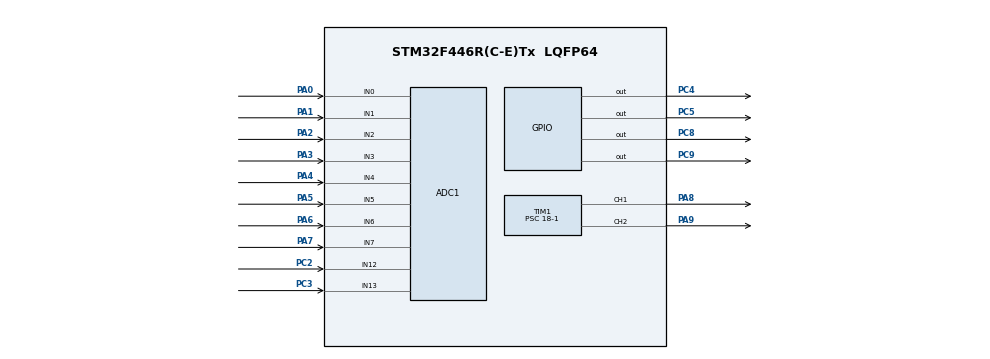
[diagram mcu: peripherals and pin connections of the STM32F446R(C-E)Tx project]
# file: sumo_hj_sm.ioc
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ADC1.Channel-0\#ChannelRegularConversion=ADC_CHANNEL_0
ADC1.Channel-1\#ChannelRegularConversion=ADC_CHANNEL_1
ADC1.Channel-2\#ChannelRegularConversion=ADC_CHANNEL_2
ADC1.Channel-3\#ChannelRegularConversion=ADC_CHANNEL_3
ADC1.Channel-4\#ChannelRegularConversion=ADC_CHANNEL_4
ADC1.Channel-5\#ChannelRegularConversion=ADC_CHANNEL_5
ADC1.Channel-6\#ChannelRegularConversion=ADC_CHANNEL_6
ADC1.Channel-7\#ChannelRegularConversion=ADC_CHANNEL_7
ADC1.Channel-8\#ChannelRegularConversion=ADC_CHANNEL_12
ADC1.Channel-9\#ChannelRegularConversion=ADC_CHANNEL_13
ADC1.ContinuousConvMode=ENABLE
ADC1.DMAContinuousRequests=ENABLE
ADC1.DiscontinuousConvMode=DISABLE
ADC1.EOCSelection=ADC_EOC_SEQ_CONV
ADC1.ExternalTrigConv=ADC_EXTERNALTRIGCONV_T8_TRGO
ADC1.NbrOfConversion=10
ADC1.NbrOfConversionFlag=1
ADC1.Rank-0\#ChannelRegularConversion=1
ADC1.Rank-1\#ChannelRegularConversion=2
ADC1.Rank-2\#ChannelRegularConversion=3
ADC1.Rank-3\#ChannelRegularConversion=4
ADC1.Rank-4\#ChannelRegularConversion=5
ADC1.Rank-5\#ChannelRegularConversion=6
ADC1.Rank-6\#ChannelRegularConversion=7
ADC1.Rank-7\#ChannelRegularConversion=8
ADC1.Rank-8\#ChannelRegularConversion=9
ADC1.Rank-9\#ChannelRegularConversion=10
ADC1.SamplingTime-0\#ChannelRegularConversion=ADC_SAMPLETIME_15CYCLES
ADC1.SamplingTime-1\#ChannelRegularConversion=ADC_SAMPLETIME_15CYCLES
ADC1.SamplingTime-2\#ChannelRegularConversion=ADC_SAMPLETIME_15CYCLES
ADC1.SamplingTime-3\#ChannelRegularConversion=ADC_SAMPLETIME_15CYCLES
ADC1.SamplingTime-4\#ChannelRegularConversion=ADC_SAMPLETIME_15CYCLES
ADC1.SamplingTime-5\#ChannelRegularConversion=ADC_SAMPLETIME_15CYCLES
ADC1.SamplingTime-6\#ChannelRegularConversion=ADC_SAMPLETIME_15CYCLES
ADC1.SamplingTime-7\#ChannelRegularConversion=ADC_SAMPLETIME_15CYCLES
ADC1.SamplingTime-8\#ChannelRegularConversion=ADC_SAMPLETIME_15CYCLES
ADC1.SamplingTime-9\#ChannelRegularConversion=ADC_SAMPLETIME_15CYCLES
ADC1.ScanConvMode=ENABLE
ADC1.master=1
Dma.ADC1.0.Direction=DMA_PERIPH_TO_MEMORY
Dma.ADC1.0.FIFOMode=DMA_FIFOMODE_DISABLE
Dma.ADC1.0.Instance=DMA2_Stream0
Dma.ADC1.0.MemDataAlignment=DMA_MDATAALIGN_WORD
Dma.ADC1.0.MemInc=DMA_MINC_ENABLE
Dma.ADC1.0.Mode=DMA_CIRCULAR
Dma.ADC1.0.PeriphDataAlignment=DMA_PDATAALIGN_WORD
Dma.ADC1.0.PeriphInc=DMA_PINC_DISABLE
Dma.ADC1.0.Priority=DMA_PRIORITY_LOW
Dma.Request0=ADC1
Mcu.Family=STM32F4
Mcu.Name=STM32F446R(C-E)Tx
Mcu.Package=LQFP64
NVIC.DMA2_Stream0_IRQn=true\:0\:0\:false\:false\:true\:false\:true\:true
NVIC.PriorityGroup=NVIC_PRIORITYGROUP_4
NVIC.TIM1_BRK_TIM9_IRQn=true\:0\:0\:false\:false\:true\:true\:true\:true
NVIC.TIM1_CC_IRQn=true\:0\:0\:false\:false\:true\:true\:true\:true
NVIC.TIM1_TRG_COM_TIM11_IRQn=true\:0\:0\:false\:false\:true\:true\:true\:true
NVIC.TIM1_UP_TIM10_IRQn=true\:0\:0\:false\:false\:true\:true\:true\:true
NVIC.TIM6_DAC_IRQn=true\:0\:0\:false\:false\:true\:true\:true\:true
NVIC.TIM7_IRQn=true\:0\:0\:false\:false\:true\:true\:true\:true
NVIC.TIM8_UP_TIM13_IRQn=true\:0\:0\:false\:false\:true\:true\:true\:true
PA0-WKUP.Signal=ADCx_IN0
PA1.Signal=ADCx_IN1
PA13.Mode=Serial_Wire
PA13.Signal=SYS_JTMS-SWDIO
PA14.Mode=Serial_Wire
PA14.Signal=SYS_JTCK-SWCLK
PA2.Signal=ADCx_IN2
PA3.Signal=ADCx_IN3
PA4.Signal=ADCx_IN4
PA5.Signal=ADCx_IN5
PA6.Signal=ADCx_IN6
PA7.Signal=ADCx_IN7
PA8.Signal=S_TIM1_CH1
PA9.Signal=S_TIM1_CH2
PC2.Signal=ADCx_IN12
PC3.Signal=ADCx_IN13
PC4.Signal=GPIO_Output
PC5.Signal=GPIO_Output
PC8.Signal=GPIO_Output
PC9.Signal=GPIO_Output
PH0-OSC_IN.Mode=HSE-External-Oscillator
PH0-OSC_IN.Signal=RCC_OSC_IN
PH1-OSC_OUT.Mode=HSE-External-Oscillator
PH1-OSC_OUT.Signal=RCC_OSC_OUT
ProjectManager.HeapSize=0x200
ProjectManager.StackSize=0x400
ProjectManager.TargetToolchain=STM32CubeIDE
RCC.AHBFreq_Value=180000000
RCC.APB1CLKDivider=RCC_HCLK_DIV4
RCC.APB1Freq_Value=45000000
RCC.APB1TimFreq_Value=90000000
RCC.APB2CLKDivider=RCC_HCLK_DIV2
RCC.APB2Freq_Value=90000000
RCC.APB2TimFreq_Value=180000000
RCC.CortexFreq_Value=180000000
RCC.HCLKFreq_Value=180000000
RCC.HSE_VALUE=16000000
RCC.PLLM=8
RCC.PLLN=180
RCC.SYSCLKFreq_VALUE=180000000
RCC.SYSCLKSource=RCC_SYSCLKSOURCE_PLLCLK
RCC.USBFreq_Value=180000000
RCC.VCOOutputFreq_Value=360000000
SH.ADCx_IN0.0=ADC1_IN0,IN0
SH.ADCx_IN1.0=ADC1_IN1,IN1
SH.ADCx_IN12.0=ADC1_IN12,IN12
SH.ADCx_IN13.0=ADC1_IN13,IN13
SH.ADCx_IN2.0=ADC1_IN2,IN2
SH.ADCx_IN3.0=ADC1_IN3,IN3
SH.ADCx_IN4.0=ADC1_IN4,IN4
SH.ADCx_IN5.0=ADC1_IN5,IN5
SH.ADCx_IN6.0=ADC1_IN6,IN6
SH.ADCx_IN7.0=ADC1_IN7,IN7
SH.S_TIM1_CH1.0=TIM1_CH1,PWM Generation1 CH1
SH.S_TIM1_CH2.0=TIM1_CH2,PWM Generation2 CH2
TIM1.AutomaticOutput=TIM_AUTOMATICOUTPUT_ENABLE
TIM1.Channel-PWM\ Generation1\ CH1=TIM_CHANNEL_1
TIM1.Channel-PWM\ Generation2\ CH2=TIM_CHANNEL_2
TIM1.Period=1000-1
TIM1.Prescaler=18-1
TIM6.Period=100-1
TIM6.Prescaler=90-1
TIM7.Period=20000-1
TIM7.Prescaler=90-1
TIM7.TIM_MasterOutputTrigger=TIM_TRGO_UPDATE
TIM8.Period=10000-1
TIM8.Prescaler=180-1
TIM8.TIM_MasterOutputTrigger=TIM_TRGO_UPDATE
VP_TIM6_VS_ClockSourceINT.Mode=Enable_Timer
VP_TIM7_VS_ClockSourceINT.Mode=Enable_Timer
VP_TIM8_VS_ClockSourceINT.Mode=Internal
board=custom

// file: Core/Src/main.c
/* USER CODE BEGIN Header */
/**
  ******************************************************************************
  * @file           : main.c
  * @brief          : Main program body
  ******************************************************************************
  * @attention
  *
  * Copyright (c) 2023 STMicroelectronics.
  * All rights reserved.
  *
  * This software is licensed under terms that can be found in the LICENSE file
  * in the root directory of this software component.
  * If no LICENSE file comes with this software, it is provided AS-IS.
  *
  ******************************************************************************
  */
/* USER CODE END Header */
#include "main.h"
#include "adc.h"
#include "dma.h"
#include "tim.h"
#include "gpio.h"

/* USER CODE BEGIN PV */
uint32_t adcVal[10] = {0, };
int adc[9] = {0, };
int mult[5] = {1, 2, 4, 8, 10};
int readc = 0;
int resultVal = 0;
int duty[2] = {0, };

/* USER CODE END PV */

void SystemClock_Config(void);

int main(void)
{

  /* MCU Configuration--------------------------------------------------------*/

  /* Reset of all peripherals, Initializes the Flash interface and the Systick. */
  LL_APB2_GRP1_EnableClock(LL_APB2_GRP1_PERIPH_SYSCFG);
  LL_APB1_GRP1_EnableClock(LL_APB1_GRP1_PERIPH_PWR);

  /* System interrupt init*/
  NVIC_SetPriorityGrouping(NVIC_PRIORITYGROUP_4);

  /* SysTick_IRQn interrupt configuration */
  NVIC_SetPriority(SysTick_IRQn, NVIC_EncodePriority(NVIC_GetPriorityGrouping(),15, 0));

  /* Configure the system clock */
  SystemClock_Config();

  /* Initialize all configured peripherals */
  MX_GPIO_Init();
  MX_DMA_Init();
  MX_ADC1_Init();
  MX_TIM8_Init();
  MX_TIM1_Init();
  MX_TIM6_Init();
  MX_TIM7_Init();
  /* USER CODE BEGIN 2 */
   LL_TIM_EnableIT_UPDATE(TIM6);
   LL_TIM_EnableCounter(TIM6);
   LL_TIM_EnableIT_UPDATE(TIM7);
   LL_TIM_EnableCounter(TIM7);

   LL_TIM_CC_EnableChannel(TIM1, LL_TIM_CHANNEL_CH1);
   LL_TIM_CC_EnableChannel(TIM1, LL_TIM_CHANNEL_CH2);
   LL_TIM_EnableCounter(TIM1);

   LL_TIM_EnableIT_UPDATE(TIM8);
   LL_TIM_EnableCounter(TIM8);

   LL_DMA_ConfigAddresses(DMA2, LL_DMA_STREAM_0,
       LL_ADC_DMA_GetRegAddr(ADC1, LL_ADC_DMA_REG_REGULAR_DATA),
       (uint32_t)adcVal,
       LL_DMA_DIRECTION_PERIPH_TO_MEMORY);
   LL_DMA_SetDataLength(DMA2, LL_DMA_STREAM_0, 10);
   LL_DMA_EnableIT_TC(DMA2, LL_DMA_STREAM_0);
   LL_DMA_EnableStream(DMA2, LL_DMA_STREAM_0);
   LL_ADC_Enable(ADC1);
   LL_ADC_REG_StartConversionSWStart(ADC1);
  /* USER CODE END 2 */

  /* Infinite loop */
  while (1)
  {

  }
}

void SystemClock_Config(void)
{
  LL_FLASH_SetLatency(LL_FLASH_LATENCY_5);
  while(LL_FLASH_GetLatency()!= LL_FLASH_LATENCY_5)
  {
  }
  LL_PWR_SetRegulVoltageScaling(LL_PWR_REGU_VOLTAGE_SCALE1);
  LL_PWR_EnableOverDriveMode();
  LL_RCC_HSI_SetCalibTrimming(16);
  LL_RCC_HSI_Enable();

   /* Wait till HSI is ready */
  while(LL_RCC_HSI_IsReady() != 1)
  {

  }
  LL_RCC_PLL_ConfigDomain_SYS(LL_RCC_PLLSOURCE_HSI, LL_RCC_PLLM_DIV_8, 180, LL_RCC_PLLP_DIV_2);
  LL_RCC_PLL_Enable();

   /* Wait till PLL is ready */
  while(LL_RCC_PLL_IsReady() != 1)
  {

  }
  while (LL_PWR_IsActiveFlag_VOS() == 0)
  {
  }
  LL_RCC_SetAHBPrescaler(LL_RCC_SYSCLK_DIV_1);
  LL_RCC_SetAPB1Prescaler(LL_RCC_APB1_DIV_4);
  LL_RCC_SetAPB2Prescaler(LL_RCC_APB2_DIV_2);
  LL_RCC_SetSysClkSource(LL_RCC_SYS_CLKSOURCE_PLL);

   /* Wait till System clock is ready */
  while(LL_RCC_GetSysClkSource() != LL_RCC_SYS_CLKSOURCE_STATUS_PLL)
  {

  }
  LL_Init1msTick(180000000);
  LL_SetSystemCoreClock(180000000);
  LL_RCC_SetTIMPrescaler(LL_RCC_TIM_PRESCALER_TWICE);
}

/* USER CODE BEGIN 4 */
void Calduty(int *arr)
{
   int absolVal = 0;

   readc = arr[4] - 1950;
   //-1950~1950

   if(readc >= 0)
      absolVal = readc;
   else
      absolVal = readc*(-1);

   if(absolVal > 0 && absolVal <= 390)
      resultVal = readc*mult[0];
   else if(absolVal > 390 && absolVal <= 780)
      resultVal = readc*mult[1];
   else if(absolVal > 780 && absolVal <= 1170)
      resultVal = readc*mult[2];
   else if(absolVal > 1170 && absolVal <= 1560)
      resultVal = readc*mult[3];
   else if(absolVal > 1560 && absolVal < 1950)
      resultVal = readc*mult[4];

   if(readc >= 0){
      duty[1] = 200 - resultVal*0.0102;
      duty[0] = 200 + resultVal*0.0307;
   }
   else{
      duty[0] = 200 + resultVal*0.0102;
      duty[1] = 200 - resultVal*0.0333;
   }
}

void front(int duty1, int duty2)
{
   LL_GPIO_SetOutputPin(GPIOC, LL_GPIO_PIN_8);
   LL_GPIO_ResetOutputPin(GPIOC, LL_GPIO_PIN_9);

   LL_TIM_OC_SetCompareCH1(TIM1, duty1);
   LL_TIM_OC_SetCompareCH2(TIM1, duty2);
}

void right(int duty1, int duty2)
{
   LL_GPIO_SetOutputPin(GPIOC, LL_GPIO_PIN_8); // 8-?   ??? set-?
   LL_GPIO_SetOutputPin(GPIOC, LL_GPIO_PIN_9); // 9-?  른쪽 reset-?

   LL_TIM_OC_SetCompareCH1(TIM1, duty1);
   LL_TIM_OC_SetCompareCH2(TIM1, duty2);
}

void left(int duty1, int duty2)
{
   LL_GPIO_ResetOutputPin(GPIOC, LL_GPIO_PIN_8); // 8-?   ??? set-?
   LL_GPIO_ResetOutputPin(GPIOC, LL_GPIO_PIN_9); // 9-?  른쪽 reset-?

   LL_TIM_OC_SetCompareCH1(TIM1, duty1);
   LL_TIM_OC_SetCompareCH2(TIM1, duty2);
}

void back(int duty1, int duty2)
{
   LL_GPIO_ResetOutputPin(GPIOC, LL_GPIO_PIN_8); // 8-?   ??? set-?
   LL_GPIO_SetOutputPin(GPIOC, LL_GPIO_PIN_9); // 9-?  른쪽 reset-?

   LL_TIM_OC_SetCompareCH1(TIM1, duty1);
   LL_TIM_OC_SetCompareCH2(TIM1, duty2);
}

void stop()
{
   LL_GPIO_ResetOutputPin(GPIOC, LL_GPIO_PIN_8); // 8-?   ??? set-?
   LL_GPIO_SetOutputPin(GPIOC, LL_GPIO_PIN_9); // 9-?  른쪽 reset-?

   LL_TIM_OC_SetCompareCH1(TIM1, 0);
   LL_TIM_OC_SetCompareCH2(TIM1, 0);
}

//float acceleration(float current, float target, float acc)
//{
//    if (current < target)
//    {
//        current = MIN(current + acc, target);
//    }
//    else if (current > target)
//    {
//        current = MAX(current - acc, target);
//    }
//    return current;
//}

/* USER CODE END 4 */

void Error_Handler(void)
{
  __disable_irq();
  while (1)
  {
  }
}
